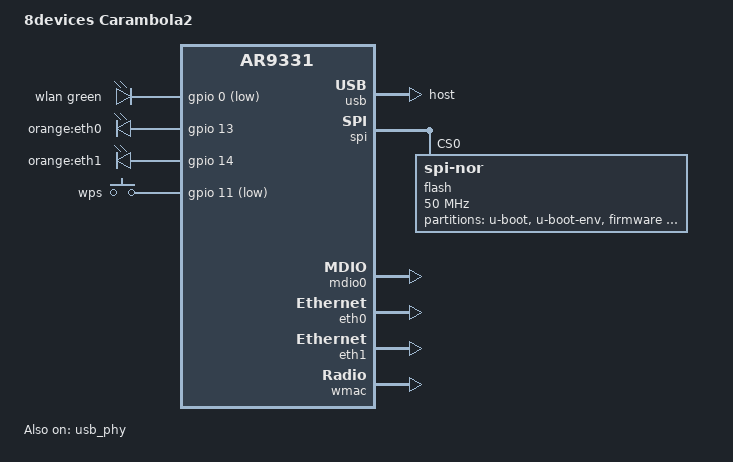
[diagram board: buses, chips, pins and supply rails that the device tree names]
// SPDX-License-Identifier: GPL-2.0-or-later OR MIT

#include "ar9331.dtsi"

#include <dt-bindings/gpio/gpio.h>
#include <dt-bindings/input/input.h>
#include <dt-bindings/leds/common.h>

/ {
	model = "8devices Carambola2";
	compatible = "8dev,carambola2", "qca,ar9331";

	aliases {
		label-mac-device = &wmac;
	};

	leds {
		compatible = "gpio-leds";

		wlan {
			function = LED_FUNCTION_WLAN;
			color = <LED_COLOR_ID_GREEN>;
			gpios = <&gpio 0 GPIO_ACTIVE_LOW>;
			linux,default-trigger = "phy0tpt";
		};

		eth0 {
			label = "orange:eth0";
			gpios = <&gpio 13 GPIO_ACTIVE_HIGH>;
		};

		eth1 {
			label = "orange:eth1";
			gpios = <&gpio 14 GPIO_ACTIVE_HIGH>;
		};
	};

	keys {
		compatible = "gpio-keys";

		wps {
			label = "wps";
			linux,code = <KEY_WPS_BUTTON>;
			gpios = <&gpio 11 GPIO_ACTIVE_LOW>;
		};
	};
};

&ref {
	clock-frequency = <40000000>;
};

&usb {
	dr_mode = "host";
	status = "okay";
};

&usb_phy {
	status = "okay";
};

&spi {
	status = "okay";

	flash@0 {
		compatible = "jedec,spi-nor";
		spi-max-frequency = <50000000>;
		reg = <0>;

		partitions {
			compatible = "fixed-partitions";
			#address-cells = <1>;
			#size-cells = <1>;

			uboot: partition@0 {
				label = "u-boot";
				reg = <0x000000 0x040000>;
				read-only;
			};

			partition@40000 {
				label = "u-boot-env";
				reg = <0x040000 0x010000>;
				read-only;
			};

			partition@50000 {
				compatible = "denx,uimage";
				label = "firmware";
				reg = <0x50000 0xfa0000>;
			};

			partition@ff0000 {
				label = "art";
				reg = <0xff0000 0x010000>;
				read-only;

				nvmem-layout {
					compatible = "fixed-layout";
					#address-cells = <1>;
					#size-cells = <1>;

					macaddr_art_0: macaddr@0 {
						reg = <0x0 0x6>;
					};

					macaddr_art_6: macaddr@6 {
						reg = <0x6 0x6>;
					};

					cal_art_1000: calibration@1000 {
						reg = <0x1000 0x440>;
					};
				};
			};
		};
	};
};

&mdio0 {
	status = "okay";
};

&eth0 {
	status = "okay";

	nvmem-cells = <&macaddr_art_0>;
	nvmem-cell-names = "mac-address";

	gmac-config {
		device = <&gmac>;

		switch-phy-addr-swap = <1>;
		switch-phy-swap = <1>;
	};
};

&eth1 {
	status = "okay";

	nvmem-cells = <&macaddr_art_6>;
	nvmem-cell-names = "mac-address";
};

&wmac {
	status = "okay";

	nvmem-cells = <&macaddr_art_6>, <&cal_art_1000>;
	nvmem-cell-names = "mac-address", "calibration";
};
